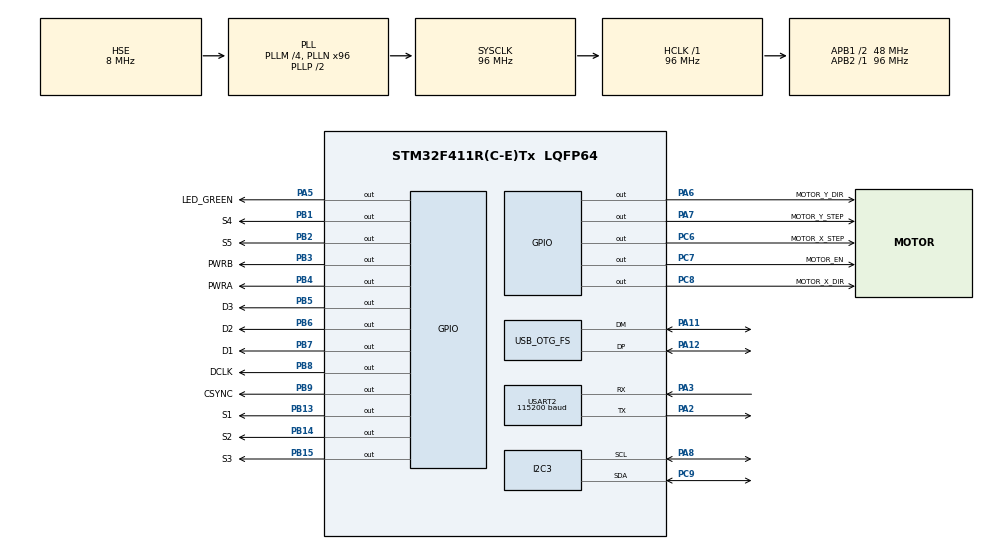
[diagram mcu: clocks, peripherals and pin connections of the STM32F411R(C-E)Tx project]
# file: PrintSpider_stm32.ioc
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Dma.I2C3_TX.1.Direction=DMA_MEMORY_TO_PERIPH
Dma.I2C3_TX.1.FIFOMode=DMA_FIFOMODE_DISABLE
Dma.I2C3_TX.1.Instance=DMA1_Stream4
Dma.I2C3_TX.1.MemDataAlignment=DMA_MDATAALIGN_BYTE
Dma.I2C3_TX.1.MemInc=DMA_MINC_ENABLE
Dma.I2C3_TX.1.Mode=DMA_NORMAL
Dma.I2C3_TX.1.PeriphDataAlignment=DMA_PDATAALIGN_BYTE
Dma.I2C3_TX.1.PeriphInc=DMA_PINC_DISABLE
Dma.I2C3_TX.1.Priority=DMA_PRIORITY_LOW
Dma.Request0=USART2_TX
Dma.Request1=I2C3_TX
Dma.Request2=TIM1_UP
Dma.TIM1_UP.2.Direction=DMA_MEMORY_TO_PERIPH
Dma.TIM1_UP.2.FIFOMode=DMA_FIFOMODE_DISABLE
Dma.TIM1_UP.2.Instance=DMA2_Stream5
Dma.TIM1_UP.2.MemDataAlignment=DMA_MDATAALIGN_WORD
Dma.TIM1_UP.2.MemInc=DMA_MINC_ENABLE
Dma.TIM1_UP.2.Mode=DMA_NORMAL
Dma.TIM1_UP.2.PeriphDataAlignment=DMA_PDATAALIGN_WORD
Dma.TIM1_UP.2.PeriphInc=DMA_PINC_DISABLE
Dma.TIM1_UP.2.Priority=DMA_PRIORITY_VERY_HIGH
Dma.USART2_TX.0.Direction=DMA_MEMORY_TO_PERIPH
Dma.USART2_TX.0.FIFOMode=DMA_FIFOMODE_DISABLE
Dma.USART2_TX.0.Instance=DMA1_Stream6
Dma.USART2_TX.0.MemDataAlignment=DMA_MDATAALIGN_BYTE
Dma.USART2_TX.0.MemInc=DMA_MINC_ENABLE
Dma.USART2_TX.0.Mode=DMA_NORMAL
Dma.USART2_TX.0.PeriphDataAlignment=DMA_PDATAALIGN_BYTE
Dma.USART2_TX.0.PeriphInc=DMA_PINC_DISABLE
Dma.USART2_TX.0.Priority=DMA_PRIORITY_HIGH
FREERTOS.BinarySemaphores01=spi3_sem,Dynamic,NULL,Depleted
FREERTOS.Tasks01=defaultTask,40,128,StartDefaultTask,Default,NULL,Dynamic,NULL,NULL
FREERTOS.configCHECK_FOR_STACK_OVERFLOW=2
FREERTOS.configENABLE_FPU=0
FREERTOS.configGENERATE_RUN_TIME_STATS=1
FREERTOS.configRECORD_STACK_HIGH_ADDRESS=1
FREERTOS.configUSE_NEWLIB_REENTRANT=1
FREERTOS.configUSE_STATS_FORMATTING_FUNCTIONS=1
I2C3.I2C_Mode=I2C_Fast
Mcu.Family=STM32F4
Mcu.Name=STM32F411R(C-E)Tx
Mcu.Package=LQFP64
NVIC.DMA1_Stream4_IRQn=true\:5\:0\:false\:false\:true\:true\:false\:true\:true
NVIC.DMA1_Stream6_IRQn=true\:5\:0\:false\:false\:true\:true\:false\:true\:true
NVIC.DMA2_Stream5_IRQn=true\:5\:0\:false\:false\:true\:true\:false\:true\:true
NVIC.I2C3_EV_IRQn=true\:5\:0\:false\:false\:true\:true\:true\:true\:true
NVIC.OTG_FS_IRQn=true\:5\:0\:false\:false\:true\:true\:false\:true\:true
NVIC.PriorityGroup=NVIC_PRIORITYGROUP_4
NVIC.TIM1_TRG_COM_TIM11_IRQn=true\:5\:0\:false\:false\:true\:false\:false\:true\:true
NVIC.TimeBase=TIM1_TRG_COM_TIM11_IRQn
NVIC.TimeBaseIP=TIM11
NVIC.USART2_IRQn=true\:5\:0\:false\:false\:true\:true\:true\:true\:true
PA11.GPIO_PuPd=GPIO_PULLUP
PA11.Mode=Device_Only
PA11.Signal=USB_OTG_FS_DM
PA12.GPIO_PuPd=GPIO_PULLUP
PA12.Mode=Device_Only
PA12.Signal=USB_OTG_FS_DP
PA2.Mode=Asynchronous
PA2.Signal=USART2_TX
PA3.Mode=Asynchronous
PA3.Signal=USART2_RX
PA5.GPIO_Label=LED_GREEN
PA5.Signal=GPIO_Output
PA6.GPIO_Label=MOTOR_Y_DIR
PA6.Signal=GPIO_Output
PA7.GPIO_Label=MOTOR_Y_STEP
PA7.Signal=GPIO_Output
PA8.Mode=I2C
PA8.Signal=I2C3_SCL
PB1.GPIO_Label=S4
PB1.GPIO_PuPd=GPIO_PULLDOWN
PB1.GPIO_Speed=GPIO_SPEED_FREQ_VERY_HIGH
PB1.Signal=GPIO_Output
PB13.GPIO_Label=S1
PB13.GPIO_ModeDefaultOutputPP=GPIO_MODE_OUTPUT_PP
PB13.GPIO_PuPd=GPIO_PULLDOWN
PB13.GPIO_Speed=GPIO_SPEED_FREQ_VERY_HIGH
PB13.Signal=GPIO_Output
PB14.GPIO_Label=S2
PB14.GPIO_PuPd=GPIO_PULLDOWN
PB14.GPIO_Speed=GPIO_SPEED_FREQ_VERY_HIGH
PB14.Signal=GPIO_Output
PB15.GPIO_Label=S3
PB15.GPIO_ModeDefaultOutputPP=GPIO_MODE_OUTPUT_PP
PB15.GPIO_PuPd=GPIO_PULLDOWN
PB15.GPIO_Speed=GPIO_SPEED_FREQ_VERY_HIGH
PB15.Signal=GPIO_Output
PB2.GPIO_Label=S5
PB2.GPIO_PuPd=GPIO_PULLDOWN
PB2.GPIO_Speed=GPIO_SPEED_FREQ_VERY_HIGH
PB2.Signal=GPIO_Output
PB3.GPIO_Label=PWRB
PB3.GPIO_PuPd=GPIO_PULLDOWN
PB3.GPIO_Speed=GPIO_SPEED_FREQ_VERY_HIGH
PB3.Signal=GPIO_Output
PB4.GPIO_Label=PWRA
PB4.GPIO_PuPd=GPIO_PULLDOWN
PB4.GPIO_Speed=GPIO_SPEED_FREQ_VERY_HIGH
PB4.Signal=GPIO_Output
PB5.GPIO_Label=D3
PB5.GPIO_PuPd=GPIO_PULLDOWN
PB5.GPIO_Speed=GPIO_SPEED_FREQ_VERY_HIGH
PB5.Signal=GPIO_Output
PB6.GPIO_Label=D2
PB6.GPIO_PuPd=GPIO_PULLDOWN
PB6.GPIO_Speed=GPIO_SPEED_FREQ_VERY_HIGH
PB6.Signal=GPIO_Output
PB7.GPIO_Label=D1
PB7.GPIO_PuPd=GPIO_PULLDOWN
PB7.GPIO_Speed=GPIO_SPEED_FREQ_VERY_HIGH
PB7.Signal=GPIO_Output
PB8.GPIO_Label=DCLK
PB8.GPIO_PuPd=GPIO_PULLDOWN
PB8.GPIO_Speed=GPIO_SPEED_FREQ_VERY_HIGH
PB8.Signal=GPIO_Output
PB9.GPIO_Label=CSYNC
PB9.GPIO_PuPd=GPIO_PULLDOWN
PB9.GPIO_Speed=GPIO_SPEED_FREQ_VERY_HIGH
PB9.Signal=GPIO_Output
PC14-OSC32_IN.Mode=LSE-External-Oscillator
PC14-OSC32_IN.Signal=RCC_OSC32_IN
PC15-OSC32_OUT.Mode=LSE-External-Oscillator
PC15-OSC32_OUT.Signal=RCC_OSC32_OUT
PC6.GPIO_Label=MOTOR_X_STEP
PC6.GPIO_PuPd=GPIO_PULLDOWN
PC6.GPIO_Speed=GPIO_SPEED_FREQ_VERY_HIGH
PC6.Signal=GPIO_Output
PC7.GPIO_Label=MOTOR_EN
PC7.GPIO_PuPd=GPIO_PULLDOWN
PC7.GPIO_Speed=GPIO_SPEED_FREQ_VERY_HIGH
PC7.Signal=GPIO_Output
PC8.GPIO_Label=MOTOR_X_DIR
PC8.GPIO_PuPd=GPIO_PULLDOWN
PC8.GPIO_Speed=GPIO_SPEED_FREQ_VERY_HIGH
PC8.Signal=GPIO_Output
PC9.Mode=I2C
PC9.Signal=I2C3_SDA
PH0\ -\ OSC_IN.Mode=HSE-External-Oscillator
PH0\ -\ OSC_IN.Signal=RCC_OSC_IN
PH1\ -\ OSC_OUT.Mode=HSE-External-Oscillator
PH1\ -\ OSC_OUT.Signal=RCC_OSC_OUT
ProjectManager.HeapSize=0x200
ProjectManager.StackSize=0x400
ProjectManager.TargetToolchain=STM32CubeIDE
RCC.48MHZClocksFreq_Value=48000000
RCC.AHBFreq_Value=96000000
RCC.APB1CLKDivider=RCC_HCLK_DIV2
RCC.APB1Freq_Value=48000000
RCC.APB1TimFreq_Value=96000000
RCC.APB2Freq_Value=96000000
RCC.APB2TimFreq_Value=96000000
RCC.CortexFreq_Value=96000000
RCC.HCLKFreq_Value=96000000
RCC.HSE_VALUE=8000000
RCC.HSI_VALUE=16000000
RCC.PLLM=4
RCC.PLLN=96
RCC.RCC_RTC_Clock_Source=RCC_RTCCLKSOURCE_LSE
RCC.RCC_RTC_Clock_SourceVirtual=RCC_RTCCLKSOURCE_LSE
RCC.SYSCLKFreq_VALUE=96000000
RCC.SYSCLKSource=RCC_SYSCLKSOURCE_PLLCLK
RCC.VCOOutputFreq_Value=192000000
TIM1.Period=10
TIM1.TIM_MasterOutputTrigger=TIM_TRGO_UPDATE
USART2.BaudRate=115200
USART2.OverSampling=UART_OVERSAMPLING_8
USART2.VirtualMode=VM_ASYNC
USB_DEVICE.CLASS_NAME_FS=MSC
USB_DEVICE.CONFIGURATION_STRING_MSC_FS=Printer Config
USB_DEVICE.INTERFACE_STRING_MSC_FS=Printer Interface
USB_DEVICE.PRODUCT_STRING_MSC_FS=STM32 USB Printer
USB_DEVICE.VirtualMode=Msc
USB_DEVICE.VirtualModeFS=Msc_FS
USB_OTG_FS.VirtualMode=Device_Only
USB_OTG_FS.low_power_enable=DISABLE
VP_FREERTOS_VS_CMSIS_V2.Mode=CMSIS_V2
VP_RTC_VS_RTC_Activate.Mode=RTC_Enabled
VP_SYS_VS_tim11.Mode=TIM11
VP_TIM1_VS_ClockSourceINT.Mode=Internal
VP_USB_DEVICE_VS_USB_DEVICE_MSC_FS.Mode=MSC_FS
board=custom

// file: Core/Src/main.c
/* USER CODE BEGIN Header */
/**
  ******************************************************************************
  * @file           : main.c
  * @brief          : Main program body
  ******************************************************************************
  * @attention
  *
  * Copyright (c) 2025 STMicroelectronics.
  * All rights reserved.
  *
  * This software is licensed under terms that can be found in the LICENSE file
  * in the root directory of this software component.
  * If no LICENSE file comes with this software, it is provided AS-IS.
  *
  ******************************************************************************
  */
/* USER CODE END Header */
#include "main.h"
#include "cmsis_os.h"
#include "usb_device.h"

/* USER CODE BEGIN Includes */
#include <string.h>
#include "semphr.h"
#include <Print/print.h>
#include "LOG/LOG.h"
#include "EVHD/EVHD.h"
#include "EXHD/EXHD.h"
#include "MOTOR/MOTOR.h"
#include "Print/PRINTCTRL.h"
/* USER CODE END Includes */

I2C_HandleTypeDef hi2c3;
DMA_HandleTypeDef hdma_i2c3_tx;

RTC_HandleTypeDef hrtc;

TIM_HandleTypeDef htim1;
DMA_HandleTypeDef hdma_tim1_up;

UART_HandleTypeDef huart2;
DMA_HandleTypeDef hdma_usart2_tx;

/* Definitions for defaultTask */
osThreadId_t defaultTaskHandle;
const osThreadAttr_t defaultTask_attributes = {
  .name = "defaultTask",
  .stack_size = 128 * 4,
  .priority = (osPriority_t) osPriorityHigh,
};
/* Definitions for spi3_sem */
osSemaphoreId_t spi3_semHandle;
const osSemaphoreAttr_t spi3_sem_attributes = {
  .name = "spi3_sem"
};
/* USER CODE BEGIN PV */

SemaphoreHandle_t i2c3TxSem;
const osSemaphoreAttr_t i2c3_sem_attributes = {
  .name = "i2c3_sem"
};

/* USER CODE END PV */

void SystemClock_Config(void);
static void MX_GPIO_Init(void);
static void MX_DMA_Init(void);
static void MX_USART2_UART_Init(void);
static void MX_I2C3_Init(void);
static void MX_RTC_Init(void);
static void MX_TIM1_Init(void);
void StartDefaultTask(void *argument);

/* USER CODE BEGIN PFP */

//==============================RTOS MONITORING BEGIN==============================
volatile unsigned long ulHighFrequencyTimerTicks;

void configureTimerForRunTimeStats(void)
{
    CoreDebug->DEMCR |= CoreDebug_DEMCR_TRCENA_Msk;
    DWT->CTRL       |= DWT_CTRL_CYCCNTENA_Msk;
}

unsigned long getRunTimeCounterValue(void)
{
    return DWT->CYCCNT;
}

//==============================RTOS MONITORING END==============================

/* USER CODE END PFP */

int main(void)
{

  /* MCU Configuration--------------------------------------------------------*/

  /* Reset of all peripherals, Initializes the Flash interface and the Systick. */
  HAL_Init();

  /* Configure the system clock */
  SystemClock_Config();

  /* Initialize all configured peripherals */
  MX_GPIO_Init();
  MX_DMA_Init();
  MX_USART2_UART_Init();
  MX_I2C3_Init();
  MX_RTC_Init();
  MX_TIM1_Init();
  /* USER CODE BEGIN 2 */
  // hdma_tim2_ch3_up.XferCpltCallback = MyTimerCallback;
  /* USER CODE END 2 */

  /* Init scheduler */
  osKernelInitialize();

  /* USER CODE BEGIN RTOS_MUTEX */
  // LOG_Debug("USER RTOS_MUTEX definitions");
  /* add mutexes, ... */
  /* USER CODE END RTOS_MUTEX */

  /* Create the semaphores(s) */
  /* creation of spi3_sem */
  spi3_semHandle = osSemaphoreNew(1, 0, &spi3_sem_attributes);

  /* USER CODE BEGIN RTOS_SEMAPHORES */
  // LOG_Debug("USER RTOS_SEMAPHORES definitions");
  i2c3TxSem = osSemaphoreNew(1, 0, &i2c3_sem_attributes);
  configASSERT(i2c3TxSem);
  /* add semaphores, ... */
  /* USER CODE END RTOS_SEMAPHORES */

  /* USER CODE BEGIN RTOS_TIMERS */
  // LOG_Debug("USER RTOS_TIMERS definitions");
  /* start timers, add new ones, ... */
  /* USER CODE END RTOS_TIMERS */

  /* USER CODE BEGIN RTOS_QUEUES */
  LOG_Init();
  /* add queues, ... */
  /* USER CODE END RTOS_QUEUES */

  /* Create the thread(s) */
  /* creation of defaultTask */
  defaultTaskHandle = osThreadNew(StartDefaultTask, NULL, &defaultTask_attributes);

  /* USER CODE BEGIN RTOS_THREADS */
  /* add threads, ... */
  EVHD_Init();
  EXHD_Init();
  MOTORCTRL_Init();
  PRINTCTRL_Init();
  configureTimerForRunTimeStats();
  /* USER CODE END RTOS_THREADS */

  /* Start scheduler */
  osKernelStart();

  /* We should never get here as control is now taken by the scheduler */

  /* Infinite loop */
  while (1)
  {

  }
}

void SystemClock_Config(void)
{
  RCC_OscInitTypeDef RCC_OscInitStruct = {0};
  RCC_ClkInitTypeDef RCC_ClkInitStruct = {0};

  /** Configure the main internal regulator output voltage
  */
  __HAL_RCC_PWR_CLK_ENABLE();
  __HAL_PWR_VOLTAGESCALING_CONFIG(PWR_REGULATOR_VOLTAGE_SCALE1);

  /** Initializes the RCC Oscillators according to the specified parameters
  * in the RCC_OscInitTypeDef structure.
  */
  RCC_OscInitStruct.OscillatorType = RCC_OSCILLATORTYPE_HSE|RCC_OSCILLATORTYPE_LSE;
  RCC_OscInitStruct.HSEState = RCC_HSE_ON;
  RCC_OscInitStruct.LSEState = RCC_LSE_ON;
  RCC_OscInitStruct.PLL.PLLState = RCC_PLL_ON;
  RCC_OscInitStruct.PLL.PLLSource = RCC_PLLSOURCE_HSE;
  RCC_OscInitStruct.PLL.PLLM = 4;
  RCC_OscInitStruct.PLL.PLLN = 96;
  RCC_OscInitStruct.PLL.PLLP = RCC_PLLP_DIV2;
  RCC_OscInitStruct.PLL.PLLQ = 4;
  if (HAL_RCC_OscConfig(&RCC_OscInitStruct) != HAL_OK)
  {
    Error_Handler();
  }

  /** Initializes the CPU, AHB and APB buses clocks
  */
  RCC_ClkInitStruct.ClockType = RCC_CLOCKTYPE_HCLK|RCC_CLOCKTYPE_SYSCLK
                              |RCC_CLOCKTYPE_PCLK1|RCC_CLOCKTYPE_PCLK2;
  RCC_ClkInitStruct.SYSCLKSource = RCC_SYSCLKSOURCE_PLLCLK;
  RCC_ClkInitStruct.AHBCLKDivider = RCC_SYSCLK_DIV1;
  RCC_ClkInitStruct.APB1CLKDivider = RCC_HCLK_DIV2;
  RCC_ClkInitStruct.APB2CLKDivider = RCC_HCLK_DIV1;

  if (HAL_RCC_ClockConfig(&RCC_ClkInitStruct, FLASH_LATENCY_3) != HAL_OK)
  {
    Error_Handler();
  }
}

static void MX_I2C3_Init(void)
{

  hi2c3.Instance = I2C3;
  hi2c3.Init.ClockSpeed = 400000;
  hi2c3.Init.DutyCycle = I2C_DUTYCYCLE_2;
  hi2c3.Init.OwnAddress1 = 0;
  hi2c3.Init.AddressingMode = I2C_ADDRESSINGMODE_7BIT;
  hi2c3.Init.DualAddressMode = I2C_DUALADDRESS_DISABLE;
  hi2c3.Init.OwnAddress2 = 0;
  hi2c3.Init.GeneralCallMode = I2C_GENERALCALL_DISABLE;
  hi2c3.Init.NoStretchMode = I2C_NOSTRETCH_DISABLE;
  if (HAL_I2C_Init(&hi2c3) != HAL_OK)
  {
    Error_Handler();
  }

}

static void MX_RTC_Init(void)
{

  /** Initialize RTC Only
  */
  hrtc.Instance = RTC;
  hrtc.Init.HourFormat = RTC_HOURFORMAT_24;
  hrtc.Init.AsynchPrediv = 127;
  hrtc.Init.SynchPrediv = 255;
  hrtc.Init.OutPut = RTC_OUTPUT_DISABLE;
  hrtc.Init.OutPutPolarity = RTC_OUTPUT_POLARITY_HIGH;
  hrtc.Init.OutPutType = RTC_OUTPUT_TYPE_OPENDRAIN;
  if (HAL_RTC_Init(&hrtc) != HAL_OK)
  {
    Error_Handler();
  }

}

static void MX_TIM1_Init(void)
{

  TIM_ClockConfigTypeDef sClockSourceConfig = {0};
  TIM_MasterConfigTypeDef sMasterConfig = {0};

  htim1.Instance = TIM1;
  htim1.Init.Prescaler = 0;
  htim1.Init.CounterMode = TIM_COUNTERMODE_UP;
  htim1.Init.Period = 10;
  htim1.Init.ClockDivision = TIM_CLOCKDIVISION_DIV1;
  htim1.Init.RepetitionCounter = 0;
  htim1.Init.AutoReloadPreload = TIM_AUTORELOAD_PRELOAD_DISABLE;
  if (HAL_TIM_Base_Init(&htim1) != HAL_OK)
  {
    Error_Handler();
  }
  sClockSourceConfig.ClockSource = TIM_CLOCKSOURCE_INTERNAL;
  if (HAL_TIM_ConfigClockSource(&htim1, &sClockSourceConfig) != HAL_OK)
  {
    Error_Handler();
  }
  sMasterConfig.MasterOutputTrigger = TIM_TRGO_UPDATE;
  sMasterConfig.MasterSlaveMode = TIM_MASTERSLAVEMODE_DISABLE;
  if (HAL_TIMEx_MasterConfigSynchronization(&htim1, &sMasterConfig) != HAL_OK)
  {
    Error_Handler();
  }

}

static void MX_USART2_UART_Init(void)
{

  huart2.Instance = USART2;
  huart2.Init.BaudRate = 115200;
  huart2.Init.WordLength = UART_WORDLENGTH_8B;
  huart2.Init.StopBits = UART_STOPBITS_1;
  huart2.Init.Parity = UART_PARITY_NONE;
  huart2.Init.Mode = UART_MODE_TX_RX;
  huart2.Init.HwFlowCtl = UART_HWCONTROL_NONE;
  huart2.Init.OverSampling = UART_OVERSAMPLING_8;
  if (HAL_UART_Init(&huart2) != HAL_OK)
  {
    Error_Handler();
  }

}

static void MX_DMA_Init(void)
{

  /* DMA controller clock enable */
  __HAL_RCC_DMA1_CLK_ENABLE();
  __HAL_RCC_DMA2_CLK_ENABLE();

  /* DMA interrupt init */
  /* DMA1_Stream4_IRQn interrupt configuration */
  HAL_NVIC_SetPriority(DMA1_Stream4_IRQn, 5, 0);
  HAL_NVIC_EnableIRQ(DMA1_Stream4_IRQn);
  /* DMA1_Stream6_IRQn interrupt configuration */
  HAL_NVIC_SetPriority(DMA1_Stream6_IRQn, 5, 0);
  HAL_NVIC_EnableIRQ(DMA1_Stream6_IRQn);
  /* DMA2_Stream5_IRQn interrupt configuration */
  HAL_NVIC_SetPriority(DMA2_Stream5_IRQn, 5, 0);
  HAL_NVIC_EnableIRQ(DMA2_Stream5_IRQn);

}

static void MX_GPIO_Init(void)
{
  GPIO_InitTypeDef GPIO_InitStruct = {0};

  /* GPIO Ports Clock Enable */
  __HAL_RCC_GPIOC_CLK_ENABLE();
  __HAL_RCC_GPIOH_CLK_ENABLE();
  __HAL_RCC_GPIOA_CLK_ENABLE();
  __HAL_RCC_GPIOB_CLK_ENABLE();

  /*Configure GPIO pin Output Level */
  HAL_GPIO_WritePin(GPIOA, LED_GREEN_Pin|MOTOR_Y_DIR_Pin|MOTOR_Y_STEP_Pin, GPIO_PIN_RESET);

  /*Configure GPIO pin Output Level */
  HAL_GPIO_WritePin(GPIOB, S4_Pin|S5_Pin|S1_Pin|S2_Pin
                          |S3_Pin|PWRB_Pin|PWRA_Pin|D3_Pin
                          |D2_Pin|D1_Pin|DCLK_Pin|CSYNC_Pin, GPIO_PIN_RESET);

  /*Configure GPIO pin Output Level */
  HAL_GPIO_WritePin(GPIOC, MOTOR_X_STEP_Pin|MOTOR_EN_Pin|MOTOR_X_DIR_Pin, GPIO_PIN_RESET);

  /*Configure GPIO pins : LED_GREEN_Pin MOTOR_Y_DIR_Pin MOTOR_Y_STEP_Pin */
  GPIO_InitStruct.Pin = LED_GREEN_Pin|MOTOR_Y_DIR_Pin|MOTOR_Y_STEP_Pin;
  GPIO_InitStruct.Mode = GPIO_MODE_OUTPUT_PP;
  GPIO_InitStruct.Pull = GPIO_NOPULL;
  GPIO_InitStruct.Speed = GPIO_SPEED_FREQ_LOW;
  HAL_GPIO_Init(GPIOA, &GPIO_InitStruct);

  /*Configure GPIO pins : S4_Pin S5_Pin S1_Pin S2_Pin
                           S3_Pin PWRB_Pin PWRA_Pin D3_Pin
                           D2_Pin D1_Pin DCLK_Pin CSYNC_Pin */
  GPIO_InitStruct.Pin = S4_Pin|S5_Pin|S1_Pin|S2_Pin
                          |S3_Pin|PWRB_Pin|PWRA_Pin|D3_Pin
                          |D2_Pin|D1_Pin|DCLK_Pin|CSYNC_Pin;
  GPIO_InitStruct.Mode = GPIO_MODE_OUTPUT_PP;
  GPIO_InitStruct.Pull = GPIO_PULLDOWN;
  GPIO_InitStruct.Speed = GPIO_SPEED_FREQ_VERY_HIGH;
  HAL_GPIO_Init(GPIOB, &GPIO_InitStruct);

  /*Configure GPIO pins : MOTOR_X_STEP_Pin MOTOR_EN_Pin MOTOR_X_DIR_Pin */
  GPIO_InitStruct.Pin = MOTOR_X_STEP_Pin|MOTOR_EN_Pin|MOTOR_X_DIR_Pin;
  GPIO_InitStruct.Mode = GPIO_MODE_OUTPUT_PP;
  GPIO_InitStruct.Pull = GPIO_PULLDOWN;
  GPIO_InitStruct.Speed = GPIO_SPEED_FREQ_VERY_HIGH;
  HAL_GPIO_Init(GPIOC, &GPIO_InitStruct);

}

void StartDefaultTask(void *argument)
{
  /* init code for USB_DEVICE */
  MX_USB_DEVICE_Init();
  /* USER CODE BEGIN 5 */
  /* Infinite loop */
  osDelay(2000);
  for(;;)
  {
    // LOG_Debug("%s: TogglePin", __FUNCTION__);
    HAL_GPIO_TogglePin(LED_GREEN_GPIO_Port, LED_GREEN_Pin);
    // PRINT_setup();
    // PRINT_print();
    osDelay(1000);
  }
  /* USER CODE END 5 */
}

void HAL_TIM_PeriodElapsedCallback(TIM_HandleTypeDef *htim)
{
  if (htim->Instance == TIM11)
  {
    HAL_IncTick();
  }
}

void Error_Handler(void)
{
  /* USER CODE BEGIN Error_Handler_Debug */
  // printf("%s", __FUNCTION__);
  /* User can add his own implementation to report the HAL error return state */
  __disable_irq();
  while (1)
  {
  }
  /* USER CODE END Error_Handler_Debug */
}

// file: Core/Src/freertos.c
/* USER CODE BEGIN Header */
/**
  ******************************************************************************
  * File Name          : freertos.c
  * Description        : Code for freertos applications
  ******************************************************************************
  * @attention
  *
  * Copyright (c) 2025 STMicroelectronics.
  * All rights reserved.
  *
  * This software is licensed under terms that can be found in the LICENSE file
  * in the root directory of this software component.
  * If no LICENSE file comes with this software, it is provided AS-IS.
  *
  ******************************************************************************
  */
/* USER CODE END Header */

#include "FreeRTOS.h"
#include "task.h"
#include "main.h"

/* Hook prototypes */
void configureTimerForRunTimeStats(void);
unsigned long getRunTimeCounterValue(void);
void vApplicationStackOverflowHook(xTaskHandle xTask, signed char *pcTaskName);

/* USER CODE BEGIN 1 */
/* Functions needed when configGENERATE_RUN_TIME_STATS is on */
__weak void configureTimerForRunTimeStats(void)
{

}

__weak unsigned long getRunTimeCounterValue(void)
{
return 0;
}
/* USER CODE END 1 */

/* USER CODE BEGIN 4 */
void vApplicationStackOverflowHook(xTaskHandle xTask, signed char *pcTaskName)
{
   /* Run time stack overflow checking is performed if
   configCHECK_FOR_STACK_OVERFLOW is defined to 1 or 2. This hook function is
   called if a stack overflow is detected. */
}
/* USER CODE END 4 */
